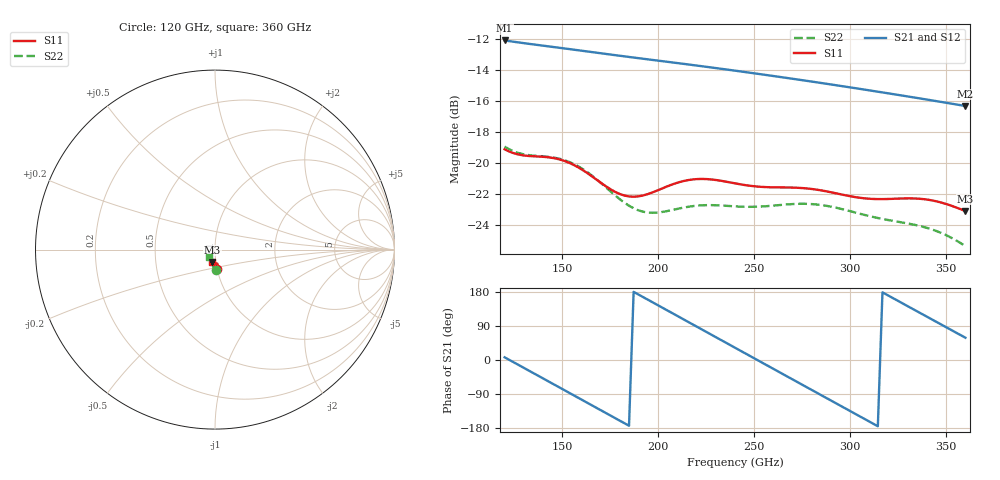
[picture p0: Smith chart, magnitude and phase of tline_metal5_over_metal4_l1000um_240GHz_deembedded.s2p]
! Created with skrf 2.0.1 (http://scikit-rf.org).
# GHz S DB R 50.0
!freq dBS11 angS11 dBS21 angS21 dBS12 angS12 dBS22 angS22
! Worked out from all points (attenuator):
!   101 points, 120 GHz to 360 GHz, reference 50 ohm
!   highest |S21| = -12.10 dB at 120 GHz (marker M1); lowest = -16.3 dB at 360 GHz (marker M2)
!   lowest |S11| = -23.1 dB at 360 GHz (marker M3), VSWR 1.15, Z = 48.1 - j6.61 ohm
!   |S11| at or under -10 dB: start of sweep to end of sweep
!   |S22| runs from -25.4 to -18.9 dB; largest |S21 - S12| = 4e-13
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120  -19.11 -84.6  -12.10 7.1  -12.10 7.1  -18.94 -88.2
129.6  -19.50 -82.7  -12.26 -19.6  -12.26 -19.6  -19.43 -86.8
141.6  -19.61 -83.4  -12.46 -53.0  -12.46 -53.0  -19.59 -88.0
151.2  -19.87 -86.2  -12.61 -79.8  -12.61 -79.8  -19.82 -91.5
160.8  -20.46 -89.0  -12.77 -106.6  -12.77 -106.6  -20.40 -95.8
172.8  -21.50 -89.2  -12.97 -140.1  -12.97 -140.1  -21.57 -98.9
182.4  -22.10 -85.8  -13.12 -166.8  -13.12 -166.8  -22.56 -97.8
192  -22.09 -81.7  -13.28 166.4  -13.28 166.4  -23.13 -94.0
201.6  -21.66 -79.9  -13.43 139.7  -13.43 139.7  -23.16 -90.6
211.2  -21.23 -81.2  -13.58 112.9  -13.58 112.9  -22.92 -89.6
220.8  -21.03 -84.2  -13.73 86.0  -13.73 86.0  -22.74 -90.7
240  -21.31 -89.2  -14.05 32.4  -14.05 32.4  -22.79 -93.9
249.6  -21.49 -90.2  -14.21 5.6  -14.21 5.6  -22.82 -94.9
259.2  -21.56 -91.0  -14.38 -21.1  -14.38 -21.1  -22.75 -96.2
271.2  -21.59 -92.7  -14.59 -54.6  -14.59 -54.6  -22.64 -99.2
280.8  -21.69 -94.6  -14.77 -81.4  -14.77 -81.4  -22.65 -102.5
290.4  -21.90 -96.1  -14.94 -108.1  -14.94 -108.1  -22.82 -105.9
302.4  -22.19 -96.9  -15.17 -141.5  -15.17 -141.5  -23.18 -109.5
312  -22.32 -96.9  -15.36 -168.1  -15.36 -168.1  -23.48 -111.6
321.6  -22.31 -97.1  -15.54 165.2  -15.54 165.2  -23.72 -113.6
340.8  -22.37 -100.2  -15.93 111.9  -15.93 111.9  -24.21 -119.3
360  -23.09 -102.5  -16.32 58.8  -16.32 58.8  -25.36 -125.9
